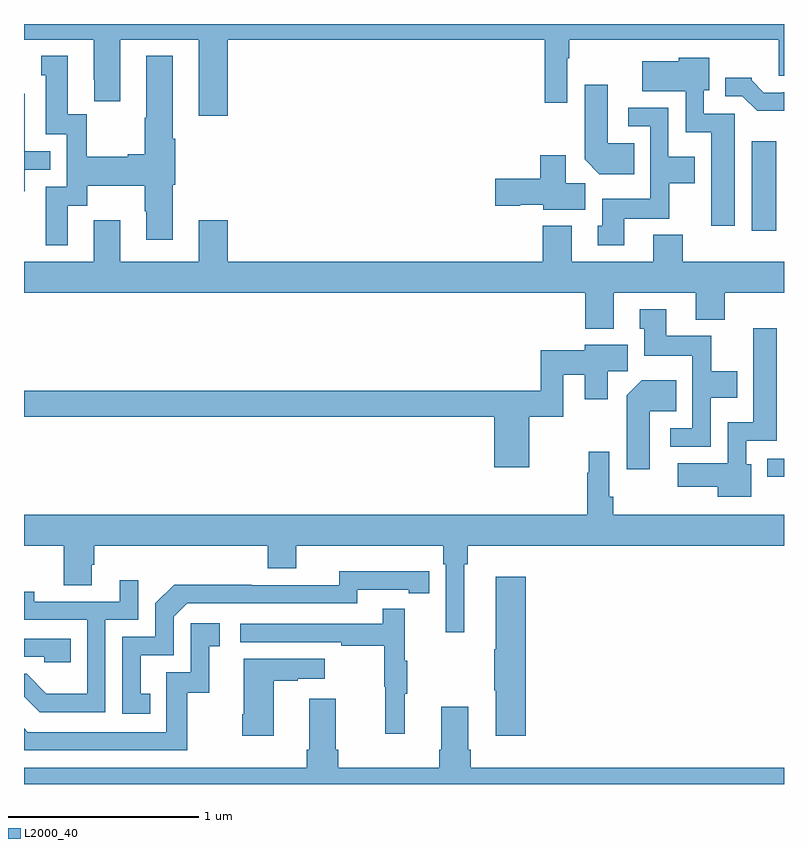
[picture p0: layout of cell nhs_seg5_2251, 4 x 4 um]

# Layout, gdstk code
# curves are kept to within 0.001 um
import gdstk
lib = gdstk.Library(unit=1e-6, precision=1e-09)
def R(c, l, rs):  # rectangles x0, y0, x1, y1
    for r in rs: c.add(gdstk.rectangle(r[:2], r[2:], *l))
def P(c, l, *ps):  # polygons
    for p in ps: c.add(gdstk.Polygon(p, *l))
L2000_40 = (2000, 40)

nhs_seg5_2251 = lib.new_cell('nhs_seg5_2251')
R(nhs_seg5_2251, L2000_40, [(244.913,898.415,245,898.512), (244.829,899.712,244.96,900.181)])
P(nhs_seg5_2251, L2000_40, [(242.072,900.716),(243.742,900.716),(243.742,900.384),(243.858,900.384),(243.858,900.62),(243.871,900.62),(243.871,900.716),(244.973,900.716),(244.973,900.526),(245,900.526),(245,900.799),(241,900.799),(241,900.716),(241.367,900.716),(241.367,900.505),(241.37,900.505),(241.37,900.393),(241.507,900.393),(241.507,900.716),(241.919,900.716),(241.919,900.315),(242.072,900.315)],
  [(241.231,899.842),(241.333,899.842),(241.333,899.948),(241.636,899.948),(241.636,899.814),(241.643,899.814),(241.643,899.664),(241.783,899.664),(241.783,899.952),(241.796,899.952),(241.796,900.196),(241.783,900.196),(241.783,900.631),(241.643,900.631),(241.643,900.305),(241.636,900.305),(241.636,900.113),(241.547,900.113),(241.547,900.1),(241.329,900.1),(241.329,900.323),(241.231,900.323),(241.231,900.631),(241.091,900.631),(241.091,900.528),(241.115,900.528),(241.115,900.219),(241.224,900.219),(241.224,899.943),(241.115,899.943),(241.115,899.634),(241.231,899.634)],
  [(244.741,900.327),(244.578,900.327),(244.578,900.45),(244.606,900.45),(244.606,900.622),(244.446,900.622),(244.446,900.604),(244.254,900.604),(244.254,900.446),(244.482,900.446),(244.482,900.23),(244.616,900.23),(244.616,899.736),(244.741,899.736)],
  [(245,900.441),(244.993,900.441),(244.993,900.438),(244.894,900.438),(244.83,900.502),(244.83,900.517),(244.691,900.517),(244.691,900.42),(244.779,900.42),(244.858,900.342),(245,900.342)],
  [(244.211,900.172),(244.072,900.172),(244.072,900.478),(243.95,900.478),(243.95,900.086),(244.028,900.008),(244.211,900.008)],
  [(241.005,900.033),(241.139,900.033),(241.139,900.129),(241.005,900.129),(241.005,900.432),(241,900.432),(241,899.919),(241.005,899.919)],
  [(244.159,899.774),(244.395,899.774),(244.395,899.96),(244.531,899.96),(244.531,900.1),(244.392,900.1),(244.392,900.357),(244.179,900.357),(244.179,900.261),(244.296,900.261),(244.296,899.878),(244.043,899.878),(244.043,899.736),(244.019,899.736),(244.019,899.634),(244.159,899.634)],
  [(243.955,899.96),(243.85,899.96),(243.85,900.109),(243.716,900.109),(243.716,899.984),(243.48,899.984),(243.48,899.842),(243.612,899.842),(243.612,899.849),(243.732,899.849),(243.732,899.822),(243.955,899.822)],
  [(244.466,899.689),(244.313,899.689),(244.313,899.548),(243.883,899.548),(243.883,899.737),(243.731,899.737),(243.731,899.548),(242.072,899.548),(242.072,899.767),(241.919,899.767),(241.919,899.548),(241.507,899.548),(241.507,899.767),(241.367,899.767),(241.367,899.548),(241,899.548),(241,899.384),(243.953,899.384),(243.953,899.195),(244.105,899.195),(244.105,899.384),(244.535,899.384),(244.535,899.243),(244.688,899.243),(244.688,899.384),(245,899.384),(245,899.548),(244.466,899.548)],
  [(244.614,898.832),(244.753,898.832),(244.753,898.972),(244.617,898.972),(244.617,899.158),(244.381,899.158),(244.381,899.299),(244.241,899.299),(244.241,899.196),(244.265,899.196),(244.265,899.054),(244.518,899.054),(244.518,898.671),(244.401,898.671),(244.401,898.575),(244.614,898.575)],
  [(244.828,898.482),(244.8,898.482),(244.8,898.605),(244.963,898.605),(244.963,899.197),(244.838,899.197),(244.838,898.702),(244.704,898.702),(244.704,898.486),(244.44,898.486),(244.44,898.364),(244.652,898.364),(244.652,898.31),(244.828,898.31)],
  [(243.659,898.732),(243.837,898.732),(243.837,898.954),(243.95,898.954),(243.95,898.824),(244.072,898.824),(244.072,898.972),(244.177,898.972),(244.177,899.11),(243.95,899.11),(243.95,899.083),(243.721,899.083),(243.721,898.868),(241,898.868),(241,898.732),(243.476,898.732),(243.476,898.467),(243.659,898.467)],
  [(244.294,898.76),(244.433,898.76),(244.433,898.924),(244.25,898.924),(244.172,898.846),(244.172,898.455),(244.294,898.455)],
  [(243.316,897.956),(243.335,897.956),(243.335,898.052),(245,898.052),(245,898.216),(244.1,898.216),(244.1,898.312),(244.08,898.312),(244.08,898.549),(243.972,898.549),(243.972,898.436),(243.964,898.436),(243.964,898.216),(241,898.216),(241,898.052),(241.21,898.052),(241.21,897.844),(241.357,897.844),(241.357,897.954),(241.37,897.954),(241.37,898.052),(242.282,898.052),(242.282,897.935),(242.434,897.935),(242.434,898.052),(243.206,898.052),(243.206,897.956),(243.219,897.956),(243.219,897.597),(243.316,897.597)],
  [(241.664,897.273),(241.615,897.273),(241.615,897.477),(241.788,897.477),(241.788,897.678),(241.86,897.75),(242.754,897.75),(242.754,897.822),(243.026,897.822),(243.026,897.802),(243.134,897.802),(243.134,897.918),(242.658,897.919),(242.658,897.846),(242.198,897.846),(242.198,897.848),(241.79,897.848),(241.692,897.75),(241.692,897.573),(241.518,897.573),(241.518,897.168),(241.664,897.168)],
  [(243.641,897.889),(243.482,897.889),(243.482,897.509),(243.475,897.509),(243.475,897.292),(243.482,897.292),(243.482,897.054),(243.641,897.054)],
  [(241.428,897.663),(241.602,897.663),(241.602,897.871),(241.505,897.871),(241.505,897.759),(241.054,897.759),(241.054,897.811),(241,897.811),(241,897.663),(241.332,897.663),(241.332,897.274),(241.118,897.274),(241.014,897.378),(241,897.378),(241,897.259),(241.082,897.177),(241.428,897.177)],
  [(243.005,897.275),(243.016,897.275),(243.016,897.449),(243.005,897.449),(243.005,897.721),(242.887,897.721),(242.887,897.642),(242.139,897.642),(242.139,897.546),(242.671,897.546),(242.671,897.526),(242.895,897.526),(242.895,897.312),(242.902,897.312),(242.902,897.063),(243.005,897.063)],
  [(241.858,897.279),(241.976,897.279),(241.976,897.525),(242.029,897.525),(242.029,897.646),(241.878,897.646),(241.878,897.387),(241.749,897.387),(241.749,897.072),(241.02,897.072),(241,897.092),(241,896.976),(241.858,896.976)],
  [(241.247,897.564),(241,897.564),(241,897.468),(241.107,897.468),(241.107,897.441),(241.247,897.441)],
  [(242.314,897.343),(242.441,897.343),(242.441,897.353),(242.584,897.353),(242.584,897.457),(242.156,897.457),(242.156,897.166),(242.149,897.166),(242.149,897.054),(242.314,897.054)],
  [(242.641,896.98),(242.641,897.247),(242.501,897.247),(242.501,896.98),(242.489,896.98),(242.489,896.884),(241,896.884),(241,896.799),(245,896.799),(245,896.884),(243.35,896.884),(243.35,896.98),(243.337,896.98),(243.337,897.205),(243.197,897.205),(243.197,896.98),(243.185,896.98),(243.185,896.884),(242.654,896.884),(242.654,896.98)])

lib.write_gds('nhs_seg5_2251.gds')
